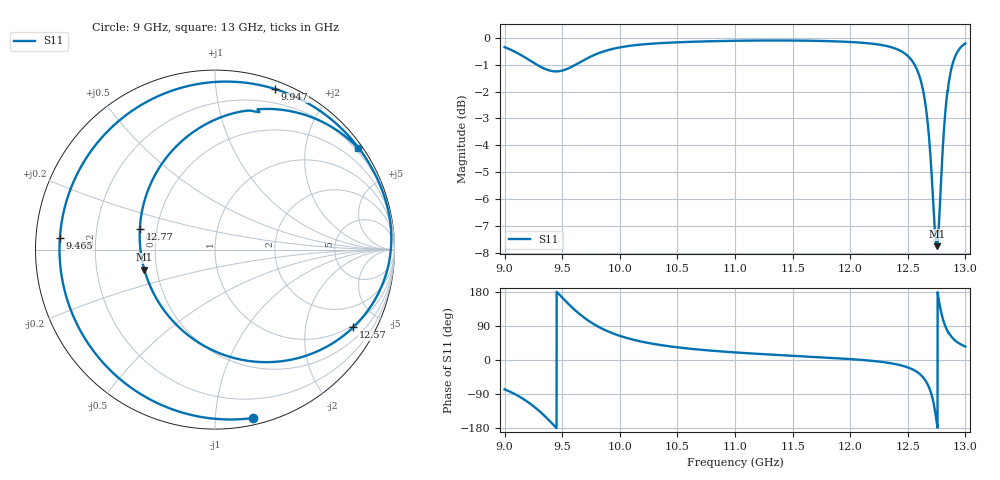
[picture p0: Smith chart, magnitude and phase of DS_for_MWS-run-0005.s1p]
! TOUCHSTONE file generated by CST DESIGN STUDIO
! Date and time: Tue Feb  4 15:44:58 2025
! Project name: C:\Work\MatlabApps\UnitCellOptimizationMatlab\CST\unitcell.cst
! Tree item: Tasks\Sweep1\SPara1\S-Parameters
! Header version: 2024
! Port assignment regex: !\s*Touchstone port\s*([0-9]+)\s*=\s*(CST MWS port|CST DES external port|CST DES block port)\s*(.+)\s* \(\"(.*)\"\)(\s*mode\s*([0-9]+))?.*
! Touchstone port assignment:
! Touchstone port 1 = CST DES external port 1 ("")
# GHz S MA R 50
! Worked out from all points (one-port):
!   4001 points, 9 GHz to 13 GHz, reference 50 ohm
!   lowest |S11| = -7.8 dB at 12.75 GHz (marker M1), VSWR 2.39, Z = 21.3 - j5.73 ohm
!   |S11| at or under -10 dB: nowhere
!   S11 on the Smith chart (normalised r, x): 9 GHz: 0.05, -1.25; 9.465 GHz: 0.07, +0.04; 9.947 GHz: 0.07, +1.44; 12.57 GHz: 0.91, -3.60; 12.77 GHz: 0.40, +0.11; 13 GHz: 0.12, +3.12
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9  0.9616 -77.4
9.137  0.9308 -98.1
9.246  0.901 -120.8
9.37  0.8725 -154.4
9.465  0.8668 175.8
9.5  0.8695 164.7
9.601  0.8882 134.4
9.696  0.9116 110.5
9.803  0.9346 89.6
9.947  0.9553 69.4
10  0.9605 63.7
10.214  0.9735 47.0
10.5  0.9817 33.5
11  0.9882 20.0
11.5  0.9893 11.2
12  0.9831 2.5
12.305  0.9674 -6.4
12.5  0.9258 -19.5
12.569  0.8834 -29.4
12.635  0.7941 -46.6
12.688  0.6388 -75.0
12.72  0.4969 -108.3
12.751  0.4093 -164.1
12.766  0.4342 164.8
12.804  0.6241 108.6
12.841  0.7849 78.9
12.91  0.9224 51.7
13  0.9771 35.5
